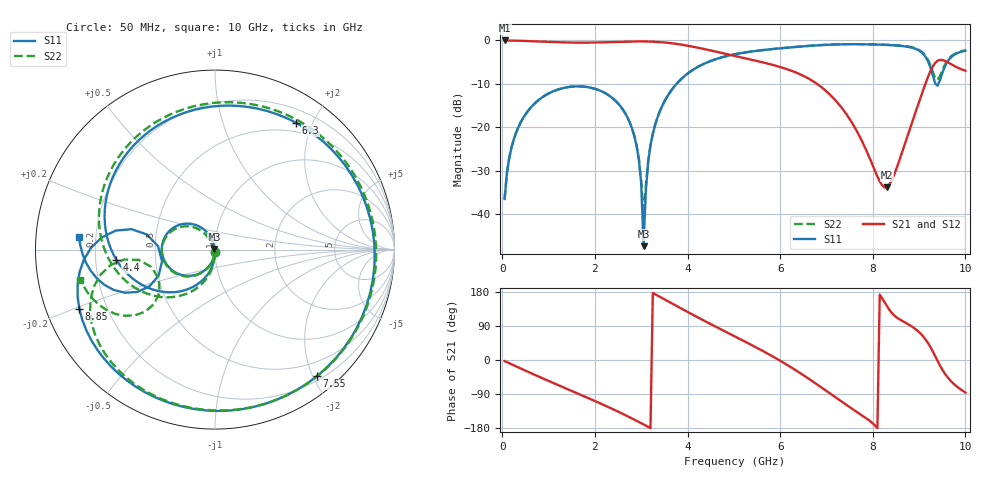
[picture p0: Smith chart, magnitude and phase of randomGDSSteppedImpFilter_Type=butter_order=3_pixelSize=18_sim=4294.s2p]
! freq	dB(S11)	phase(S11)	dB(S12)	phase(S12)
!  dB(S21)	phase(S21)	dB(S22)	phase(S22)
!S-par simulation data
#  GHz  S  DB  R 50
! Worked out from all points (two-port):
!   200 points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, 50 MHz to 10 GHz, reference 50 ohm
!   highest |S21| = -0.01 dB at 50 MHz (marker M1); lowest = -33.8 dB at 8.3 GHz (marker M2)
!   |S21| within 3 dB of the highest: start of sweep to 4.791 GHz
!   lowest |S11| = -47.3 dB at 3.05 GHz (marker M3), VSWR 1.01, Z = 49.7 + j0.277 ohm
!   |S11| at or under -10 dB: start of sweep to 3.763 GHz; 9.356 GHz to 9.417 GHz (61.13 MHz wide, 0.651 % of centre)
!   |S22| runs from -40.3 to -0.8 dB; largest |S21 - S12| = 0
!   S11 on the Smith chart (normalised r, x): 50 MHz: 1.00, -0.03; 4.4 GHz: 0.29, -0.05; 6.3 GHz: 0.37, +1.77; 7.55 GHz: 0.26, -2.06; 8.85 GHz: 0.10, -0.21; 10 GHz: 0.14, +0.05
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0.05  -36.48 -92.6  -0.01 -2.9  -0.01 -2.9  -36.48 -92.6
0.2  -24.59 -101.7  -0.03 -11.4  -0.03 -11.4  -24.59 -101.4
0.5  -17.03 -119.0  -0.12 -28.1  -0.12 -28.1  -17.03 -118.2
1.75  -10.62 173.0  -0.51 -94.9  -0.51 -94.9  -10.62 176.4
2.8  -20.21 113.4  -0.24 -154.2  -0.24 -154.2  -20.21 122.0
2.95  -27.48 105.3  -0.22 -163.6  -0.22 -163.6  -27.38 119.8
3  -32.94 104.2  -0.22 -166.8  -0.22 -166.8  -32.45 127.4
3.05  -47.34 139.4  -0.23 -170.0  -0.23 -170.0  -40.26 180.0
3.15  -27.95 -92.5  -0.25 -176.5  -0.25 -176.5  -27.64 -97.4
3.4  -16.37 -107.5  -0.38 167.0  -0.38 167.0  -16.32 -104.4
4.4  -5.16 -174.0  -2.07 101.0  -2.07 101.0  -5.15 -165.9
5.05  -3.12 144.6  -3.63 60.5  -3.63 60.5  -3.11 155.2
6.3  -1.53 57.4  -7.20 -24.1  -7.20 -24.1  -1.52 72.6
6.7  -1.19 24.2  -9.32 -56.3  -9.32 -56.3  -1.19 39.9
7.55  -0.86 -51.2  -18.92 -128.3  -18.92 -128.3  -0.85 -36.5
8.3  -1.04 -112.6  -33.79 143.3  -33.79 143.3  -0.99 -98.3
8.35  -1.06 -116.4  -33.28 133.9  -33.28 133.9  -1.02 -102.1
8.85  -1.68 -156.5  -18.85 87.9  -18.85 87.9  -1.59 -140.6
9.2  -4.97 169.2  -8.21 43.4  -8.21 43.4  -4.61 -171.5
9.4  -10.40 -167.6  -4.67 -2.7  -4.67 -2.7  -9.05 -152.5
9.65  -4.34 -158.2  -5.22 -50.7  -5.22 -50.7  -4.11 -143.7
10  -2.37 174.6  -6.96 -85.8  -6.96 -85.8  -2.28 -167.5
